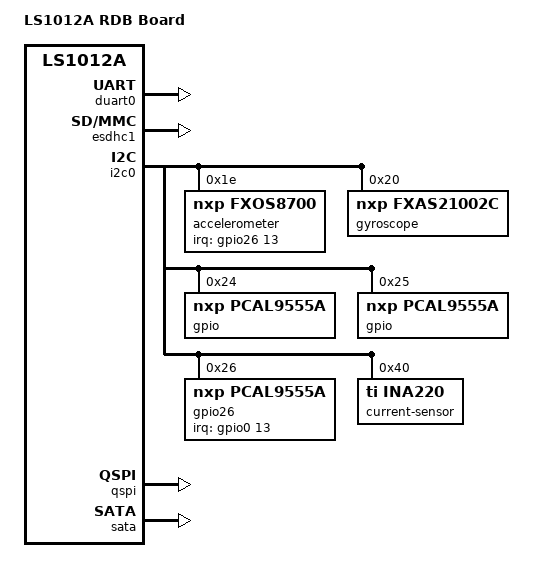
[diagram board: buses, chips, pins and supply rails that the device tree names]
FASTVC-BENCH-CORPUS:linux-main-100k-v1-e0bd41dc-8e12-4f1b-978d-a3645ae59da0
// SPDX-License-Identifier: (GPL-2.0+ OR MIT)
/*
 * Device Tree file for Freescale LS1012A RDB Board.
 *
 * Copyright 2016 Freescale Semiconductor, Inc.
 *
 */
/dts-v1/;

#include <dt-bindings/interrupt-controller/irq.h>
#include "fsl-ls1012a.dtsi"

/ {
	model = "LS1012A RDB Board";
	compatible = "fsl,ls1012a-rdb", "fsl,ls1012a";

	aliases {
		mmc0 = &esdhc0;
		mmc1 = &esdhc1;
	};
};

&duart0 {
	status = "okay";
};

&esdhc0 {
	sd-uhs-sdr104;
	sd-uhs-sdr50;
	sd-uhs-sdr25;
	sd-uhs-sdr12;
/* bench 4017.0.0 380c3875d5c6 */
/* bench 4017.0.1 e473ef57a43f */
/* bench 4017.0.2 52fd9917ac79 */
};

&esdhc1 {
	mmc-hs200-1_8v;
	status = "okay";
};

&i2c0 {
	status = "okay";

	accelerometer@1e {
		compatible = "nxp,fxos8700";
		reg = <0x1e>;
		interrupt-parent = <&gpio26>;
		interrupts = <13 IRQ_TYPE_EDGE_RISING>;
		interrupt-names = "INT1";
	};

	gyroscope@20 {
		compatible = "nxp,fxas21002c";
		reg = <0x20>;
	};

	gpio@24 {
		compatible = "nxp,pcal9555a";
		reg = <0x24>;
		gpio-controller;
		#gpio-cells = <2>;
	};

	gpio@25 {
		compatible = "nxp,pcal9555a";
		reg = <0x25>;
		gpio-controller;
		#gpio-cells = <2>;
	};

	gpio26: gpio@26 {
		compatible = "nxp,pcal9555a";
		reg = <0x26>;
		interrupt-parent = <&gpio0>;
		interrupts = <13 IRQ_TYPE_EDGE_FALLING>;
		interrupt-controller;
		#interrupt-cells = <2>;
		gpio-controller;
		#gpio-cells = <2>;
	};

	current-sensor@40 {
		compatible = "ti,ina220";
		reg = <0x40>;
		shunt-resistor = <2000>;
	};
};

&qspi {
	status = "okay";

/* bench 11177.1.0 c184bc99e32a */
/* bench 11177.1.1 1184d57c25b3 */
/* bench 11177.1.2 1a461f949381 */
/* bench 11177.1.3 4425220a7f0e */
/* bench 11177.1.4 0b93b09850bd */
/* bench 11177.1.5 d119c72497a1 */
/* bench 11177.1.6 bb26c92fd25f */
/* bench 11177.1.7 ef90183e32aa */
/* bench 11177.1.8 105fa1a9c89f */
/* bench 11177.1.9 ee635bfdec5c */
/* bench 11177.1.10 0215de3a8958 */
		#address-cells = <1>;
		#size-cells = <1>;
		spi-max-frequency = <50000000>;
		m25p,fast-read;
		reg = <0>;
		spi-rx-bus-width = <2>;
		spi-tx-bus-width = <2>;
	};
};

&sata {
	status = "okay";
};
